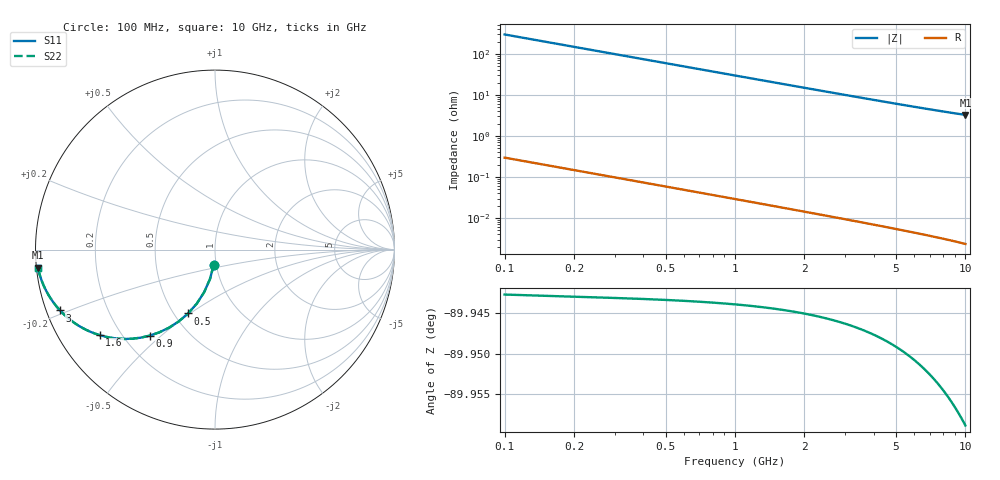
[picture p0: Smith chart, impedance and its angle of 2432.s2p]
# Hz S RI R 50.00
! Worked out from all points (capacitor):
!   100 points, 100 MHz to 10 GHz, reference 50 ohm
!   read as one part in shunt: C = 5.34 pF near 100 MHz
!   lowest |Z| = 3.27 ohm at 10 GHz (marker M1)
!   S11 on the Smith chart (normalised r, x): 100 MHz: 0.97, -0.16; 500 MHz: 0.59, -0.49; 900 MHz: 0.31, -0.46; 1.6 GHz: 0.12, -0.33; 3 GHz: 0.04, -0.19; 10 GHz: 0.00, -0.05
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1e8  -0.00705 -0.0832  0.9929 -0.0835  0.9929 -0.0835  -0.00705 -0.0832
2e8  -0.0275 -0.163  0.9724 -0.1635  0.9724 -0.1635  -0.0275 -0.163
3e8  -0.0598 -0.2363  0.9401 -0.2371  0.9401 -0.2371  -0.0598 -0.2363
4e8  -0.1015 -0.301  0.8985 -0.302  0.8985 -0.302  -0.1015 -0.301
5e8  -0.1499 -0.3559  0.85 -0.3572  0.85 -0.3572  -0.1499 -0.3559
6e8  -0.2024 -0.4005  0.7975 -0.4021  0.7975 -0.4021  -0.2024 -0.4005
7e8  -0.2566 -0.4354  0.7433 -0.4372  0.7433 -0.4372  -0.2566 -0.4354
9e8  -0.3631 -0.4792  0.6368 -0.4816  0.6368 -0.4816  -0.3631 -0.4792
1.2e9  -0.5031 -0.4979  0.4968 -0.5011  0.4968 -0.5011  -0.5031 -0.4979
1.4e9  -0.5793 -0.4913  0.4206 -0.495  0.4206 -0.495  -0.5793 -0.4913
1.6e9  -0.6426 -0.4766  0.3574 -0.4809  0.3574 -0.4809  -0.6426 -0.4766
1.8e9  -0.6946 -0.4577  0.3054 -0.4625  0.3054 -0.4625  -0.6946 -0.4577
2e9  -0.7372 -0.4369  0.2627 -0.4423  0.2627 -0.4423  -0.7372 -0.4369
2.3e9  -0.7876 -0.4054  0.2123 -0.4116  0.2123 -0.4116  -0.7876 -0.4054
2.6e9  -0.8257 -0.3753  0.1743 -0.3824  0.1743 -0.3824  -0.8257 -0.3753
3e9  -0.863 -0.3392  0.1369 -0.3473  0.1369 -0.3473  -0.863 -0.3392
3.4e9  -0.89 -0.3077  0.1099 -0.3169  0.1099 -0.3169  -0.89 -0.3077
4.2e9  -0.9251 -0.2569  0.0748 -0.2684  0.0748 -0.2684  -0.9251 -0.2569
5.1e9  -0.948 -0.2143  0.0518 -0.2284  0.0518 -0.2284  -0.948 -0.2143
6.7e9  -0.9694 -0.1621  0.0304 -0.1809  0.0304 -0.1809  -0.9694 -0.1621
8.4e9  -0.9805 -0.1253  0.0192 -0.1492  0.0192 -0.1492  -0.9805 -0.1253
1e10  -0.9863 -0.1003  0.0133 -0.1293  0.0133 -0.1293  -0.9863 -0.1003
